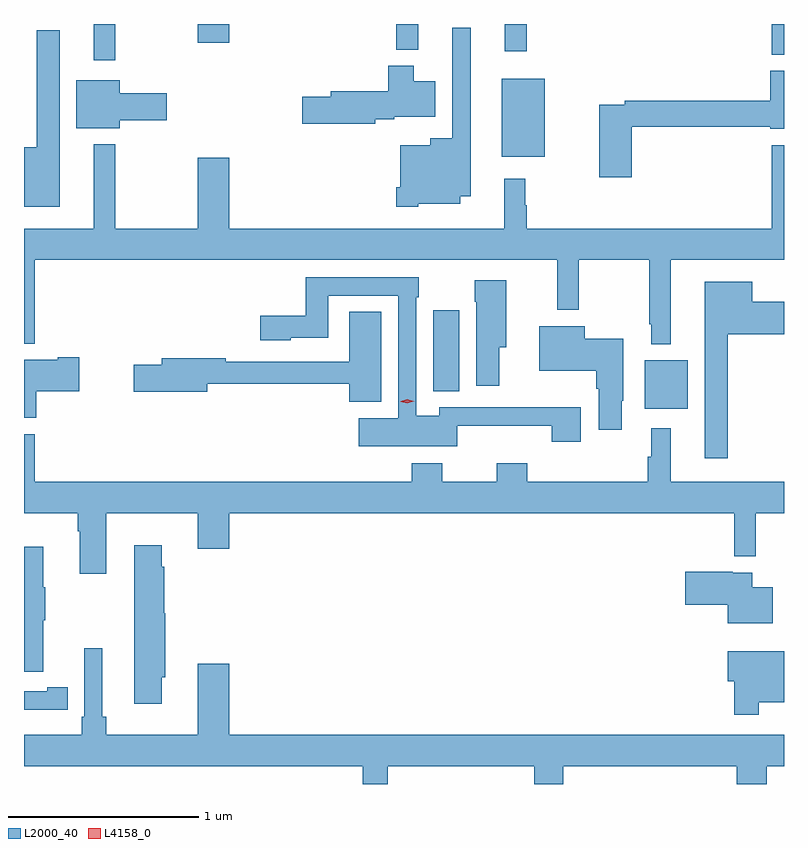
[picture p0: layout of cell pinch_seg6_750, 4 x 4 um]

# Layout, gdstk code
import gdstk
lib = gdstk.Library(unit=1e-6, precision=1e-09)
def R(c, l, rs):  # rectangles x0, y0, x1, y1
    for r in rs: c.add(gdstk.rectangle(r[:2], r[2:], *l))
def P(c, l, *ps):  # polygons
    for p in ps: c.add(gdstk.Polygon(p, *l))
L2000_40 = (2000, 40)
L4158_0 = (4158, 0)

pinch_seg6_750 = lib.new_cell('pinch_seg6_750')
R(pinch_seg6_750, L2000_40, [(311.216,982.517,311.443,982.771), (310.103,982.609,310.24,983.035), (310.463,983.843,310.69,984.253), (308.315,984.351,308.429,984.542), (311.885,984.38,311.949,984.542), (310.478,984.399,310.595,984.542), (309.907,984.407,310.025,984.542), (308.864,984.444,309.028,984.542)])
P(pinch_seg6_750, L2000_40, [(310.023,983.597),(310.246,983.597),(310.246,983.636),(310.3,983.636),(310.3,984.523),(310.203,984.523),(310.203,983.941),(310.088,983.941),(310.088,983.905),(309.929,983.905),(309.929,983.683),(309.908,983.683),(309.908,983.579),(310.023,983.579)],
  [(308.137,984.508),(308.016,984.508),(308.016,983.894),(307.949,983.894),(307.949,983.579),(308.137,983.579)],
  [(309.798,984.041),(309.898,984.041),(309.898,984.053),(310.114,984.053),(310.114,984.241),(310,984.241),(310,984.322),(309.866,984.322),(309.866,984.189),(309.563,984.189),(309.563,984.159),(309.414,984.159),(309.414,984.017),(309.798,984.017)],
  [(311.147,984.001),(311.876,984.001),(311.876,983.99),(311.949,983.99),(311.949,984.295),(311.876,984.295),(311.876,984.137),(311.11,984.137),(311.11,984.117),(310.976,984.117),(310.976,983.736),(311.147,983.736)],
  [(308.452,984.035),(308.701,984.035),(308.701,984.177),(308.452,984.177),(308.452,984.247),(308.225,984.247),(308.225,983.993),(308.452,983.993)],
  [(311.353,983.3),(311.949,983.3),(311.949,983.905),(311.885,983.905),(311.885,983.464),(310.595,983.464),(310.595,983.588),(310.588,983.588),(310.588,983.728),(310.477,983.728),(310.477,983.464),(309.028,983.464),(309.028,983.839),(308.864,983.839),(308.864,983.464),(308.429,983.464),(308.429,983.908),(308.315,983.908),(308.315,983.464),(307.949,983.464),(307.949,982.859),(308.006,982.859),(308.006,983.3),(310.756,983.3),(310.756,983.037),(310.87,983.037),(310.87,983.3),(311.239,983.3),(311.239,982.963),(311.249,982.963),(311.249,982.856),(311.353,982.856)],
  [(310.23,982.427),(310.727,982.427),(310.727,982.344),(310.879,982.344),(310.879,982.526),(310.643,982.526),(310.643,982.524),(310.134,982.524),(310.134,982.48),(310.014,982.48),(310.014,983.105),(310.027,983.105),(310.027,983.208),(309.433,983.208),(309.433,983.007),(309.192,983.007),(309.192,982.877),(309.354,982.877),(309.354,982.89),(309.549,982.89),(309.549,983.112),(309.918,983.112),(309.918,982.468),(309.711,982.468),(309.711,982.319),(310.23,982.319)],
  [(310.45,982.841),(310.486,982.841),(310.486,983.194),(310.321,983.194),(310.321,983.081),(310.328,983.081),(310.328,982.638),(310.45,982.638)],
  [(311.653,982.91),(311.949,982.91),(311.949,983.08),(311.782,983.08),(311.782,983.185),(311.531,983.185),(311.531,982.257),(311.653,982.257)],
  [(309.829,983.027),(309.662,983.027),(309.662,982.764),(309.01,982.764),(309.01,982.784),(308.675,982.784),(308.675,982.748),(308.526,982.748),(308.526,982.606),(308.914,982.606),(308.914,982.648),(309.662,982.648),(309.662,982.553),(309.829,982.553)],
  [(311.095,982.56),(311.104,982.56),(311.104,982.885),(310.9,982.885),(310.9,982.951),(310.661,982.951),(310.661,982.718),(310.961,982.718),(310.961,982.622),(310.973,982.622),(310.973,982.407),(311.095,982.407)],
  [(308.014,982.609),(308.239,982.609),(308.239,982.787),(308.126,982.787),(308.126,982.774),(307.949,982.774),(307.949,982.469),(308.014,982.469)],
  [(308.383,981.968),(308.864,981.968),(308.864,981.78),(309.028,981.78),(309.028,981.968),(311.688,981.968),(311.688,981.74),(311.801,981.74),(311.801,981.968),(311.949,981.968),(311.949,982.132),(311.353,982.132),(311.353,982.414),(311.249,982.414),(311.249,982.265),(311.232,982.265),(311.232,982.132),(310.598,982.132),(310.598,982.231),(310.438,982.231),(310.438,982.132),(310.149,982.132),(310.149,982.231),(309.989,982.231),(309.989,982.132),(308.006,982.132),(308.006,982.384),(307.949,982.384),(307.949,981.968),(308.231,981.968),(308.231,981.872),(308.243,981.872),(308.243,981.648),(308.383,981.648)],
  [(308.674,981.105),(308.692,981.105),(308.692,981.441),(308.687,981.441),(308.687,981.686),(308.674,981.686),(308.674,981.799),(308.528,981.799),(308.528,980.964),(308.674,980.964)],
  [(308.051,981.403),(308.062,981.403),(308.062,981.577),(308.051,981.577),(308.051,981.79),(307.949,981.79),(307.949,981.132),(308.051,981.132)],
  [(311.89,981.577),(311.782,981.577),(311.782,981.655),(311.678,981.655),(311.678,981.66),(311.43,981.66),(311.43,981.485),(311.654,981.485),(311.654,981.389),(311.89,981.389)],
  [(309.863,980.636),(310.634,980.636),(310.634,980.542),(310.787,980.542),(310.787,980.636),(311.699,980.636),(311.699,980.542),(311.859,980.542),(311.859,980.636),(311.949,980.636),(311.949,980.8),(309.028,980.8),(309.028,981.175),(308.864,981.175),(308.864,980.8),(308.381,980.8),(308.381,980.896),(308.362,980.896),(308.362,981.256),(308.265,981.256),(308.265,980.896),(308.252,980.896),(308.252,980.8),(307.949,980.8),(307.949,980.636),(309.733,980.636),(309.733,980.542),(309.863,980.542)],
  [(311.815,980.972),(311.949,980.972),(311.949,981.241),(311.652,981.241),(311.652,981.083),(311.686,981.083),(311.686,980.907),(311.815,980.907)],
  [(308.072,980.934),(308.18,980.934),(308.18,981.05),(308.072,981.05),(308.072,981.03),(307.949,981.03),(307.949,980.933),(308.072,980.933)])
P(pinch_seg6_750, L4158_0, [(309.967,982.546),(309.932,982.555),(309.932,982.556),(309.932,982.556),(309.966,982.566),(310.001,982.557),(310.002,982.557),(310.001,982.557)])

lib.write_gds('pinch_seg6_750.gds')
